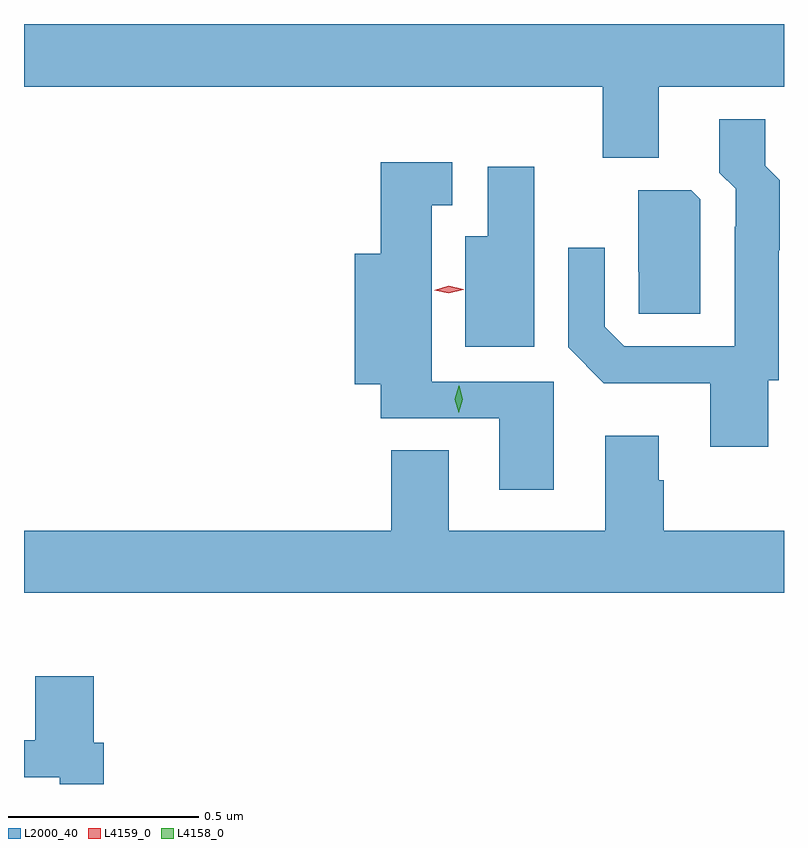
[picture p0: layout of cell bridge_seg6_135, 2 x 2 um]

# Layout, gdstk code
import gdstk
lib = gdstk.Library(unit=1e-6, precision=1e-09)
def P(c, l, *ps):  # polygons
    for p in ps: c.add(gdstk.Polygon(p, *l))
L2000_40 = (2000, 40)
L4158_0 = (4158, 0)
L4159_0 = (4159, 0)

bridge_seg6_135 = lib.new_cell('bridge_seg6_135')
P(bridge_seg6_135, L2000_40, [(402.511,965.984),(402.841,965.984),(402.841,966.149),(402.755,966.149),(402.755,966.148),(401.24,966.148),(401.24,966.149),(401.089,966.149),(401.089,966.148),(400.841,966.148),(400.841,965.984),(402.364,965.984),(402.364,965.797),(402.511,965.797)],
  [(402.8,965.211),(402.827,965.211),(402.827,965.554),(402.83,965.554),(402.83,965.738),(402.791,965.776),(402.791,965.899),(402.671,965.899),(402.671,965.758),(402.714,965.715),(402.714,965.615),(402.711,965.615),(402.711,965.301),(402.42,965.301),(402.369,965.352),(402.369,965.56),(402.273,965.56),(402.273,965.298),(402.367,965.204),(402.647,965.204),(402.647,965.037),(402.8,965.037)],
  [(402.235,965.208),(401.914,965.208),(401.914,965.672),(401.968,965.672),(401.968,965.785),(401.78,965.785),(401.78,965.545),(401.711,965.545),(401.711,965.201),(401.78,965.201),(401.78,965.112),(402.092,965.112),(402.092,964.923),(402.235,964.923)],
  [(402.184,965.773),(402.062,965.773),(402.062,965.59),(402.002,965.59),(402.002,965.3),(402.184,965.3)],
  [(402.621,965.688),(402.597,965.712),(402.458,965.712),(402.458,965.497),(402.459,965.497),(402.459,965.386),(402.621,965.386)],
  [(402.841,964.816),(402.524,964.816),(402.524,964.949),(402.511,964.949),(402.511,965.065),(402.371,965.065),(402.371,964.816),(401.959,964.816),(401.959,965.027),(401.807,965.027),(401.807,964.816),(400.841,964.816),(400.841,964.652),(402.841,964.652)],
  [(401.051,964.257),(401.024,964.257),(401.024,964.432),(400.871,964.432),(400.871,964.264),(400.841,964.264),(400.841,964.167),(400.935,964.167),(400.935,964.149),(401.051,964.149)])
P(bridge_seg6_135, L4158_0, [(401.985,965.126),(401.985,965.126),(401.975,965.161),(401.985,965.197),(401.985,965.197),(401.986,965.197),(401.995,965.161),(401.985,965.126)])
P(bridge_seg6_135, L4159_0, [(401.959,965.44),(401.92,965.449),(401.92,965.449),(401.92,965.449),(401.959,965.46),(401.997,965.451),(401.998,965.45),(401.997,965.45)])

lib.write_gds('bridge_seg6_135.gds')
